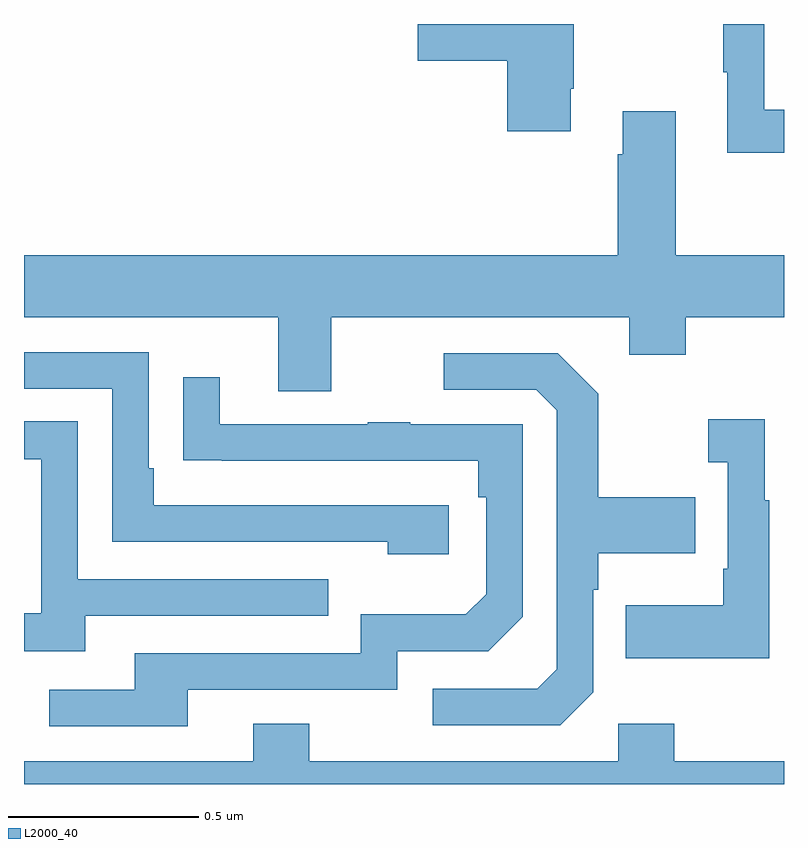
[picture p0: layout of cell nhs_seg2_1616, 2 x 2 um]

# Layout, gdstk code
import gdstk
lib = gdstk.Library(unit=1e-6, precision=1e-09)
def P(c, l, *ps):  # polygons
    for p in ps: c.add(gdstk.Polygon(p, *l))
L2000_40 = (2000, 40)

nhs_seg2_1616 = lib.new_cell('nhs_seg2_1616')
P(nhs_seg2_1616, L2000_40, [(132.439,589.63),(132.447,589.63),(132.447,589.8),(132.036,589.8),(132.036,589.703),(132.272,589.703),(132.272,589.518),(132.439,589.518)],
  [(133,589.574),(132.948,589.574),(132.948,589.8),(132.84,589.8),(132.84,589.673),(132.851,589.673),(132.851,589.461),(133,589.461)],
  [(131.809,589.028),(132.593,589.028),(132.593,588.929),(132.741,588.929),(132.741,589.028),(133,589.028),(133,589.192),(132.715,589.192),(132.715,589.57),(132.575,589.57),(132.575,589.457),(132.563,589.457),(132.563,589.192),(131,589.192),(131,589.028),(131.669,589.028),(131.669,588.834),(131.809,588.834)],
  [(132.118,588.534),(131.341,588.534),(131.341,588.631),(131.328,588.631),(131.328,588.936),(131,588.936),(131,588.84),(131.232,588.84),(131.232,588.438),(131.957,588.438),(131.957,588.404),(132.118,588.404)],
  [(132.498,588.042),(132.498,588.311),(132.511,588.311),(132.511,588.407),(132.767,588.407),(132.767,588.555),(132.511,588.555),(132.511,588.827),(132.405,588.933),(132.105,588.933),(132.105,588.837),(132.348,588.837),(132.402,588.783),(132.402,588.102),(132.351,588.051),(132.075,588.051),(132.075,587.955),(132.411,587.955)],
  [(131.431,588.048),(131.982,588.048),(131.982,588.15),(132.222,588.15),(132.312,588.24),(132.312,588.747),(132.017,588.747),(132.017,588.752),(131.905,588.752),(131.905,588.747),(131.515,588.747),(131.515,588.871),(131.419,588.871),(131.419,588.652),(131.521,588.652),(131.521,588.651),(132.196,588.651),(132.196,588.554),(132.216,588.554),(132.216,588.3),(132.163,588.247),(131.886,588.247),(131.886,588.144),(131.291,588.144),(131.291,588.048),(131.067,588.048),(131.067,587.952),(131.431,587.952)],
  [(132.961,588.547),(132.949,588.547),(132.949,588.76),(132.801,588.76),(132.801,588.647),(132.852,588.647),(132.852,588.367),(132.84,588.367),(132.84,588.271),(132.583,588.271),(132.583,588.131),(132.961,588.131)],
  [(131.161,588.243),(131.801,588.243),(131.801,588.339),(131.142,588.339),(131.142,588.755),(131,588.755),(131,588.654),(131.046,588.654),(131.046,588.249),(131,588.249),(131,588.149),(131.161,588.149)],
  [(133,587.86),(132.711,587.86),(132.711,587.959),(132.564,587.959),(132.564,587.86),(131.751,587.86),(131.751,587.959),(131.603,587.959),(131.603,587.86),(131,587.86),(131,587.8),(133,587.8)])

lib.write_gds('nhs_seg2_1616.gds')
